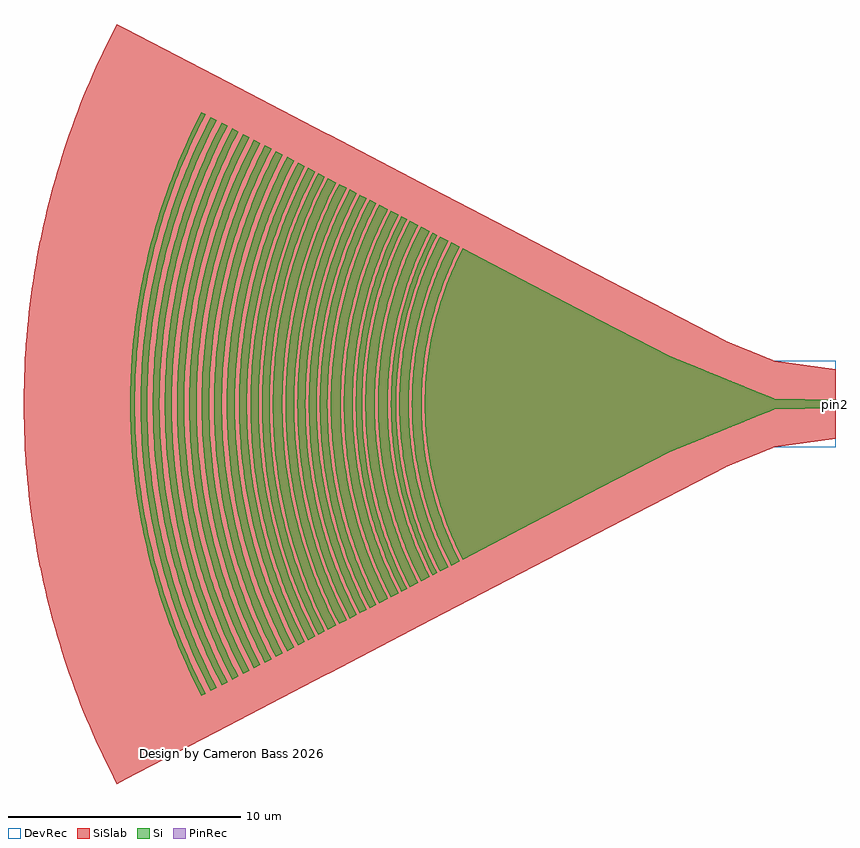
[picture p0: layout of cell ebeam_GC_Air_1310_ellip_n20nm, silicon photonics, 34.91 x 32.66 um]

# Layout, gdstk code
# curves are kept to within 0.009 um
import gdstk
lib = gdstk.Library(unit=1e-6, precision=1e-09)
def P(c, l, *ps):  # polygons
    for p in ps: c.add(gdstk.Polygon(p, *l))
Si = (1, 0)
PinRec = (1, 10)
SiSlab = (2, 0)
DevRec = (68, 0)

ebeam_gc_air_1310_ellip_ = lib.new_cell('ebeam_GC_Air_1310_ellip_n20nm')
P(ebeam_gc_air_1310_ellip_, Si, [(-16.039,-6.689),(-16.392,-5.961),(-16.765,-5.046),(-16.994,-4.378),(-17.259,-3.426),(-17.434,-2.597),(-17.561,-1.76),(-17.639,-0.917),(-17.667,-0.071),(-17.647,0.776),(-17.577,1.621),(-17.458,2.459),(-17.292,3.29),(-17.076,4.108),(-16.765,5.046),(-16.392,5.961),(-16.039,6.689),(-7.16,2.065),(-3.161,0.433),(-2.854,0.319),(-2.699,0.243),(-2.652,0.23),(0,0.175),(0,-0.175),(-2.666,-0.232),(-2.853,-0.318),(-3.192,-0.445),(-7.115,-2.045)],
  [(-16.531,-6.944),(-16.895,-6.191),(-17.231,-5.378),(-17.52,-4.547),(-17.76,-3.701),(-17.95,-2.842),(-18.09,-1.973),(-18.189,-0.953),(-18.219,-0.073),(-18.198,0.806),(-18.125,1.683),(-18.002,2.554),(-17.829,3.417),(-17.605,4.266),(-17.333,5.103),(-16.954,6.057),(-16.531,6.945),(-16.164,6.753),(-16.519,6.018),(-16.897,5.095),(-17.169,4.285),(-17.394,3.46),(-17.572,2.624),(-17.7,1.777),(-17.787,0.784),(-17.807,0.071),(-17.787,-0.784),(-17.7,-1.777),(-17.572,-2.623),(-17.394,-3.46),(-17.169,-4.285),(-16.897,-5.095),(-16.519,-6.018),(-16.164,-6.753)],
  [(-17.012,-7.195),(-17.389,-6.415),(-17.737,-5.573),(-18.036,-4.712),(-18.285,-3.835),(-18.39,-3.392),(-18.509,-2.795),(-18.645,-1.895),(-18.729,-0.987),(-18.76,-0.076),(-18.738,0.835),(-18.663,1.744),(-18.606,2.196),(-18.509,2.795),(-18.321,3.687),(-18.167,4.275),(-18.036,4.712),(-17.737,5.573),(-17.389,6.415),(-17.012,7.195),(-16.655,7.009),(-16.899,6.518),(-17.082,6.113),(-17.414,5.29),(-17.697,4.448),(-17.931,3.592),(-18.115,2.724),(-18.248,1.845),(-18.329,0.961),(-18.359,0.074),(-18.338,-0.813),(-18.248,-1.845),(-18.115,-2.724),(-17.931,-3.592),(-17.697,-4.448),(-17.414,-5.29),(-17.082,-6.113),(-16.899,-6.518),(-16.655,-7.009)],
  [(-17.332,-7.362),(-17.718,-6.563),(-18.074,-5.702),(-18.38,-4.821),(-18.635,-3.924),(-18.836,-3.013),(-18.917,-2.554),(-19.004,-1.938),(-19.09,-1.01),(-19.121,-0.078),(-19.099,0.855),(-19.022,1.784),(-18.891,2.708),(-18.672,3.773),(-18.426,4.672),(-18.129,5.556),(-17.718,6.564),(-17.332,7.362),(-17.137,7.259),(-17.578,6.332),(-17.813,5.766),(-17.974,5.336),(-18.123,4.9),(-18.301,4.313),(-18.527,3.422),(-18.699,2.519),(-18.819,1.607),(-18.878,0.843),(-18.9,0.077),(-18.878,-0.843),(-18.819,-1.607),(-18.723,-2.367),(-18.559,-3.272),(-18.301,-4.313),(-18.123,-4.9),(-17.974,-5.335),(-17.813,-5.765),(-17.578,-6.332),(-17.137,-7.259)],
  [(-17.828,-7.62),(-18.292,-6.646),(-18.652,-5.751),(-18.96,-4.836),(-19.214,-3.905),(-19.413,-2.96),(-19.557,-2.007),(-19.646,-1.045),(-19.679,-0.08),(-19.655,0.885),(-19.576,1.847),(-19.441,2.803),(-19.214,3.905),(-18.96,4.836),(-18.652,5.751),(-18.227,6.794),(-17.828,7.62),(-17.457,7.426),(-17.909,6.478),(-18.205,5.752),(-18.514,4.863),(-18.77,3.959),(-18.879,3.5),(-19.003,2.886),(-19.143,1.955),(-19.207,1.332),(-19.239,0.862),(-19.261,0.078),(-19.239,-0.862),(-19.207,-1.332),(-19.143,-1.955),(-19.003,-2.886),(-18.807,-3.806),(-18.56,-4.714),(-18.26,-5.605),(-17.909,-6.478),(-17.457,-7.426)],
  [(-18.308,-7.87),(-18.582,-7.317),(-18.788,-6.863),(-19.159,-5.939),(-19.478,-4.994),(-19.74,-4.032),(-19.945,-3.057),(-20.095,-2.071),(-20.186,-1.08),(-20.22,-0.083),(-20.196,0.914),(-20.114,1.907),(-20.002,2.73),(-19.779,3.872),(-19.616,4.516),(-19.478,4.994),(-19.159,5.939),(-18.788,6.864),(-18.582,7.317),(-18.308,7.87),(-17.954,7.685),(-18.356,6.851),(-18.61,6.255),(-18.785,5.8),(-19.095,4.878),(-19.351,3.939),(-19.553,2.986),(-19.698,2.023),(-19.788,1.054),(-19.821,0.081),(-19.797,-0.892),(-19.717,-1.862),(-19.581,-2.826),(-19.389,-3.78),(-19.142,-4.722),(-18.841,-5.648),(-18.67,-6.103),(-18.421,-6.703),(-17.954,-7.685)],
  [(-18.67,-8.058),(-19.093,-7.182),(-19.483,-6.239),(-19.818,-5.275),(-20.01,-4.623),(-20.137,-4.128),(-20.347,-3.13),(-20.5,-2.121),(-20.594,-1.105),(-20.628,-0.085),(-20.604,0.935),(-20.52,1.953),(-20.377,2.962),(-20.249,3.631),(-20.137,4.128),(-20.01,4.623),(-19.818,5.275),(-19.483,6.239),(-19.093,7.182),(-18.67,8.058),(-18.433,7.935),(-18.637,7.529),(-18.916,6.92),(-19.111,6.457),(-19.349,5.831),(-19.512,5.355),(-19.706,4.715),(-19.836,4.229),(-19.988,3.576),(-20.167,2.587),(-20.272,1.756),(-20.337,0.921),(-20.361,0.084),(-20.337,-0.921),(-20.272,-1.756),(-20.167,-2.587),(-20.022,-3.412),(-19.915,-3.903),(-19.751,-4.552),(-19.563,-5.195),(-19.405,-5.673),(-19.173,-6.3),(-18.983,-6.766),(-18.709,-7.377),(-18.433,-7.934)],
  [(-19.128,-8.297),(-19.564,-7.395),(-19.772,-6.912),(-20.027,-6.26),(-20.362,-5.264),(-20.639,-4.25),(-20.855,-3.222),(-21.013,-2.183),(-21.109,-1.138),(-21.145,-0.088),(-21.135,0.613),(-21.109,1.138),(-21.013,2.183),(-20.855,3.222),(-20.639,4.25),(-20.362,5.264),(-20.027,6.26),(-19.635,7.235),(-19.418,7.713),(-19.128,8.297),(-18.796,8.123),(-19.222,7.24),(-19.491,6.608),(-19.675,6.129),(-20.003,5.154),(-20.274,4.162),(-20.487,3.156),(-20.641,2.138),(-20.735,1.114),(-20.77,0.086),(-20.745,-0.943),(-20.661,-1.968),(-20.517,-2.986),(-20.423,-3.492),(-20.274,-4.162),(-20.003,-5.154),(-19.675,-6.129),(-19.291,-7.083),(-19.079,-7.552),(-18.796,-8.123)],
  [(-19.627,-8.557),(-20.075,-7.628),(-20.489,-6.627),(-20.844,-5.603),(-21.14,-4.56),(-21.373,-3.502),(-21.546,-2.432),(-21.656,-1.353),(-21.687,-0.813),(-21.705,-0.09),(-21.679,0.993),(-21.589,2.074),(-21.438,3.146),(-21.302,3.856),(-21.183,4.385),(-20.898,5.43),(-20.674,6.117),(-20.489,6.627),(-20.075,7.628),(-19.627,8.557),(-19.254,8.362),(-19.545,7.774),(-19.764,7.291),(-20.098,6.474),(-20.278,5.977),(-20.497,5.306),(-20.775,4.284),(-20.995,3.248),(-21.153,2.201),(-21.25,1.146),(-21.286,0.088),(-21.281,-0.442),(-21.25,-1.146),(-21.153,-2.2),(-20.995,-3.248),(-20.775,-4.284),(-20.497,-5.305),(-20.335,-5.809),(-20.098,-6.474),(-19.764,-7.291),(-19.545,-7.773),(-19.254,-8.362)],
  [(-20.042,-8.773),(-20.348,-8.154),(-20.578,-7.648),(-20.992,-6.618),(-21.346,-5.565),(-21.639,-4.494),(-21.868,-3.407),(-22.034,-2.309),(-22.136,-1.203),(-22.174,-0.093),(-22.147,1.018),(-22.056,2.125),(-21.986,2.676),(-21.868,3.407),(-21.639,4.494),(-21.346,5.565),(-20.992,6.618),(-20.578,7.649),(-20.348,8.154),(-20.042,8.773),(-19.756,8.623),(-19.977,8.181),(-20.281,7.52),(-20.493,7.016),(-20.751,6.336),(-20.983,5.646),(-21.139,5.122),(-21.28,4.595),(-21.445,3.886),(-21.611,2.991),(-21.734,2.089),(-21.824,1.001),(-21.85,0.091),(-21.84,-0.637),(-21.771,-1.727),(-21.666,-2.631),(-21.482,-3.707),(-21.365,-4.241),(-21.188,-4.947),(-20.983,-5.645),(-20.751,-6.336),(-20.493,-7.015),(-20.281,-7.519),(-19.977,-8.181),(-19.756,-8.623)],
  [(-20.462,-8.992),(-20.936,-8.011),(-21.371,-6.959),(-21.744,-5.884),(-22.055,-4.789),(-22.225,-4.05),(-22.335,-3.491),(-22.505,-2.365),(-22.61,-1.233),(-22.649,-0.095),(-22.621,1.043),(-22.527,2.178),(-22.368,3.305),(-22.264,3.864),(-22.1,4.605),(-21.908,5.338),(-21.744,5.884),(-21.371,6.959),(-20.936,8.011),(-20.462,8.992),(-20.168,8.838),(-20.476,8.215),(-20.781,7.534),(-21.06,6.842),(-21.251,6.316),(-21.481,5.607),(-21.636,5.069),(-21.776,4.527),(-21.938,3.799),(-22.099,2.88),(-22.216,1.955),(-22.288,1.025),(-22.315,0.093),(-22.297,-0.839),(-22.234,-1.77),(-22.126,-2.696),(-21.938,-3.799),(-21.776,-4.527),(-21.636,-5.069),(-21.481,-5.607),(-21.251,-6.316),(-20.993,-7.015),(-20.781,-7.534),(-20.476,-8.214),(-20.168,-8.838)],
  [(-20.897,-9.218),(-21.384,-8.209),(-21.829,-7.132),(-22.212,-6.03),(-22.531,-4.908),(-22.705,-4.15),(-22.818,-3.577),(-22.993,-2.424),(-23.1,-1.263),(-23.139,-0.097),(-23.134,0.486),(-23.1,1.263),(-22.993,2.424),(-22.818,3.578),(-22.577,4.719),(-22.27,5.844),(-21.898,6.95),(-21.463,8.032),(-21.221,8.563),(-20.897,9.218),(-20.592,9.058),(-20.91,8.416),(-21.222,7.718),(-21.508,7.009),(-21.704,6.471),(-21.884,5.926),(-22.099,5.193),(-22.242,4.638),(-22.408,3.892),(-22.573,2.951),(-22.693,2.003),(-22.767,1.051),(-22.795,0.096),(-22.776,-0.86),(-22.712,-1.813),(-22.601,-2.762),(-22.408,-3.892),(-22.242,-4.638),(-22.099,-5.193),(-21.884,-5.926),(-21.704,-6.471),(-21.508,-7.009),(-21.222,-7.718),(-20.91,-8.416),(-20.592,-9.058)],
  [(-21.348,-9.453),(-21.681,-8.781),(-21.928,-8.236),(-22.374,-7.127),(-22.756,-5.993),(-23.071,-4.839),(-23.318,-3.669),(-23.497,-2.486),(-23.607,-1.295),(-23.647,-0.1),(-23.642,0.498),(-23.607,1.296),(-23.497,2.487),(-23.318,3.669),(-23.071,4.839),(-22.756,5.993),(-22.374,7.127),(-21.928,8.237),(-21.681,8.781),(-21.348,9.453),(-21.022,9.282),(-21.264,8.8),(-21.591,8.088),(-21.819,7.546),(-22.097,6.815),(-22.347,6.072),(-22.515,5.509),(-22.713,4.752),(-22.884,3.988),(-23.053,3.024),(-23.176,2.052),(-23.252,1.076),(-23.28,0.098),(-23.261,-0.881),(-23.195,-1.858),(-23.082,-2.83),(-22.884,-3.987),(-22.713,-4.752),(-22.515,-5.509),(-22.347,-6.072),(-22.097,-6.815),(-21.819,-7.546),(-21.591,-8.088),(-21.264,-8.799),(-21.022,-9.282)],
  [(-21.836,-9.706),(-22.088,-9.203),(-22.43,-8.459),(-22.888,-7.319),(-23.093,-6.74),(-23.28,-6.155),(-23.451,-5.565),(-23.604,-4.97),(-23.857,-3.768),(-23.958,-3.162),(-24.041,-2.553),(-24.154,-1.33),(-24.184,-0.716),(-24.195,-0.102),(-24.166,1.126),(-24.065,2.351),(-23.958,3.162),(-23.857,3.768),(-23.604,4.97),(-23.451,5.566),(-23.28,6.155),(-23.093,6.74),(-22.888,7.32),(-22.43,8.459),(-22.176,9.019),(-21.836,9.707),(-21.473,9.517),(-21.808,8.842),(-22.136,8.109),(-22.364,7.551),(-22.642,6.798),(-22.831,6.226),(-23.057,5.456),(-23.207,4.873),(-23.381,4.089),(-23.555,3.1),(-23.681,2.105),(-23.759,1.104),(-23.788,0.1),(-23.769,-0.903),(-23.701,-1.905),(-23.555,-3.1),(-23.381,-4.089),(-23.207,-4.873),(-23.057,-5.455),(-22.831,-6.226),(-22.642,-6.798),(-22.364,-7.551),(-22.136,-8.109),(-21.808,-8.842),(-21.473,-9.517)],
  [(-22.25,-9.922),(-22.773,-8.837),(-23.022,-8.26),(-23.253,-7.677),(-23.535,-6.889),(-23.727,-6.291),(-24.058,-5.08),(-24.316,-3.851),(-24.419,-3.232),(-24.504,-2.61),(-24.62,-1.36),(-24.662,-0.105),(-24.656,0.524),(-24.632,1.151),(-24.529,2.402),(-24.45,3.025),(-24.353,3.645),(-24.238,4.263),(-24.058,5.08),(-23.727,6.291),(-23.535,6.89),(-23.253,7.677),(-23.022,8.261),(-22.773,8.838),(-22.25,9.922),(-21.961,9.771),(-22.303,9.079),(-22.558,8.516),(-22.798,7.946),(-23.091,7.175),(-23.291,6.59),(-23.53,5.801),(-23.69,5.204),(-23.877,4.4),(-23.996,3.794),(-24.097,3.183),(-24.226,2.161),(-24.306,1.133),(-24.336,0.103),(-24.306,-1.133),(-24.226,-2.161),(-24.097,-3.183),(-23.996,-3.794),(-23.877,-4.4),(-23.69,-5.204),(-23.53,-5.8),(-23.291,-6.589),(-23.091,-7.175),(-22.798,-7.945),(-22.558,-8.515),(-22.303,-9.079),(-21.961,-9.771)],
  [(-22.684,-10.148),(-22.95,-9.618),(-23.221,-9.036),(-23.476,-8.446),(-23.712,-7.85),(-24.133,-6.637),(-24.375,-5.816),(-24.535,-5.194),(-24.676,-4.568),(-24.799,-3.938),(-24.905,-3.305),(-24.992,-2.668),(-25.06,-2.03),(-25.11,-1.39),(-25.141,-0.749),(-25.153,-0.107),(-25.147,0.536),(-25.122,1.177),(-25.079,1.817),(-25.017,2.456),(-24.936,3.093),(-24.837,3.727),(-24.676,4.568),(-24.535,5.194),(-24.375,5.816),(-24.196,6.433),(-24,7.045),(-23.787,7.65),(-23.308,8.841),(-23.042,9.426),(-22.684,10.148),(-22.378,9.988),(-22.729,9.279),(-22.99,8.703),(-23.235,8.121),(-23.534,7.333),(-23.803,6.534),(-23.983,5.928),(-24.147,5.318),(-24.338,4.497),(-24.53,3.462),(-24.673,2.418),(-24.764,1.368),(-24.795,0.738),(-24.807,0.105),(-24.787,-0.948),(-24.695,-2.208),(-24.563,-3.253),(-24.338,-4.497),(-24.147,-5.318),(-23.983,-5.928),(-23.803,-6.534),(-23.534,-7.333),(-23.313,-7.924),(-22.99,-8.703),(-22.729,-9.279),(-22.378,-9.988)],
  [(-23.116,-10.373),(-23.391,-9.825),(-23.668,-9.231),(-23.928,-8.628),(-24.17,-8.019),(-24.601,-6.78),(-24.789,-6.151),(-24.959,-5.518),(-25.062,-5.094),(-25.242,-4.238),(-25.356,-3.592),(-25.451,-2.943),(-25.527,-2.292),(-25.599,-1.42),(-25.631,-0.765),(-25.643,-0.109),(-25.637,0.547),(-25.612,1.202),(-25.567,1.856),(-25.504,2.509),(-25.421,3.16),(-25.282,4.024),(-25.011,5.306),(-24.847,5.942),(-24.665,6.571),(-24.465,7.197),(-24.247,7.815),(-23.757,9.031),(-23.486,9.628),(-23.116,10.373),(-22.826,10.222),(-23.187,9.491),(-23.54,8.705),(-23.785,8.106),(-24.011,7.501),(-24.286,6.684),(-24.471,6.065),(-24.69,5.231),(-24.834,4.6),(-25.031,3.541),(-25.124,2.902),(-25.199,2.259),(-25.282,1.185),(-25.314,0.108),(-25.293,-0.97),(-25.199,-2.259),(-25.124,-2.901),(-25.031,-3.541),(-24.834,-4.6),(-24.69,-5.231),(-24.471,-6.064),(-24.286,-6.684),(-24.011,-7.501),(-23.785,-8.106),(-23.454,-8.902),(-23.187,-9.491),(-22.826,-10.221)],
  [(-23.585,-10.618),(-24.154,-9.443),(-24.42,-8.826),(-24.667,-8.203),(-24.897,-7.572),(-25.108,-6.936),(-25.301,-6.292),(-25.475,-5.645),(-25.63,-4.992),(-25.805,-4.115),(-25.916,-3.453),(-26.007,-2.788),(-26.078,-2.121),(-26.13,-1.453),(-26.163,-0.782),(-26.176,-0.112),(-26.169,0.56),(-26.143,1.23),(-26.098,1.899),(-26.033,2.567),(-25.948,3.232),(-25.844,3.896),(-25.676,4.774),(-25.528,5.428),(-25.361,6.078),(-25.174,6.722),(-24.969,7.362),(-24.746,7.994),(-24.504,8.619),(-24.245,9.238),(-23.967,9.849),(-23.585,10.618),(-23.284,10.46),(-23.657,9.707),(-23.93,9.105),(-24.187,8.495),(-24.5,7.672),(-24.714,7.046),(-24.971,6.203),(-25.142,5.564),(-25.342,4.705),(-25.544,3.621),(-25.693,2.529),(-25.756,1.872),(-25.801,1.212),(-25.833,0.11),(-25.812,-0.992),(-25.774,-1.651),(-25.716,-2.31),(-25.578,-3.404),(-25.342,-4.705),(-25.142,-5.564),(-24.971,-6.202),(-24.714,-7.045),(-24.5,-7.671),(-24.187,-8.495),(-23.93,-9.105),(-23.562,-9.906),(-23.284,-10.46)],
  [(-24.068,-10.869),(-24.363,-10.282),(-24.653,-9.66),(-24.926,-9.029),(-25.179,-8.392),(-25.488,-7.531),(-25.698,-6.877),(-25.889,-6.218),(-26.06,-5.553),(-26.211,-4.884),(-26.344,-4.21),(-26.457,-3.533),(-26.55,-2.852),(-26.623,-2.17),(-26.676,-1.486),(-26.71,-0.8),(-26.723,-0.114),(-26.716,0.573),(-26.69,1.258),(-26.623,2.17),(-26.55,2.853),(-26.457,3.533),(-26.344,4.211),(-26.164,5.108),(-26.06,5.553),(-25.889,6.218),(-25.698,6.877),(-25.414,7.748),(-25.179,8.392),(-24.926,9.03),(-24.653,9.66),(-24.363,10.282),(-24.068,10.869),(-23.772,10.714),(-24.06,10.14),(-24.346,9.526),(-24.7,8.697),(-24.944,8.065),(-25.24,7.212),(-25.441,6.566),(-25.622,5.914),(-25.836,5.036),(-25.972,4.374),(-26.09,3.707),(-26.243,2.589),(-26.341,1.465),(-26.374,0.79),(-26.387,0.113),(-26.365,-1.015),(-26.267,-2.365),(-26.125,-3.484),(-26.014,-4.152),(-25.883,-4.816),(-25.733,-5.476),(-25.503,-6.348),(-25.309,-6.997),(-25.021,-7.853),(-24.784,-8.486),(-24.437,-9.32),(-24.06,-10.14),(-23.772,-10.714)],
  [(-24.538,-11.114),(-24.842,-10.51),(-25.139,-9.874),(-25.418,-9.229),(-25.676,-8.578),(-25.917,-7.918),(-26.138,-7.253),(-26.402,-6.356),(-26.578,-5.676),(-26.684,-5.221),(-26.868,-4.303),(-26.983,-3.611),(-27.078,-2.917),(-27.153,-2.218),(-27.208,-1.519),(-27.242,-0.818),(-27.255,-0.117),(-27.242,0.818),(-27.208,1.52),(-27.153,2.219),(-27.078,2.917),(-26.983,3.611),(-26.868,4.303),(-26.684,5.221),(-26.578,5.676),(-26.402,6.356),(-26.138,7.253),(-25.917,7.918),(-25.676,8.578),(-25.418,9.23),(-25.139,9.874),(-24.842,10.51),(-24.538,11.114),(-24.253,10.965),(-24.651,10.164),(-24.938,9.533),(-25.207,8.894),(-25.535,8.032),(-25.83,7.157),(-26.028,6.495),(-26.208,5.825),(-26.417,4.926),(-26.629,3.792),(-26.785,2.648),(-26.886,1.499),(-26.919,0.808),(-26.932,0.115),(-26.926,-0.576),(-26.899,-1.269),(-26.809,-2.419),(-26.729,-3.107),(-26.629,-3.792),(-26.417,-4.926),(-26.208,-5.825),(-26.028,-6.493),(-25.83,-7.157),(-25.535,-8.032),(-25.207,-8.894),(-24.938,-9.533),(-24.651,-10.164),(-24.253,-10.965)],
  [(-25.011,-11.36),(-25.323,-10.74),(-25.627,-10.091),(-25.911,-9.432),(-26.176,-8.766),(-26.421,-8.092),(-26.647,-7.412),(-26.854,-6.724),(-27.04,-6.032),(-27.204,-5.335),(-27.35,-4.632),(-27.474,-3.927),(-27.579,-3.217),(-27.662,-2.505),(-27.725,-1.79),(-27.776,-0.836),(-27.79,-0.12),(-27.783,0.597),(-27.755,1.314),(-27.706,2.029),(-27.637,2.743),(-27.546,3.454),(-27.394,4.397),(-27.255,5.102),(-27.097,5.8),(-26.918,6.495),(-26.718,7.184),(-26.499,7.866),(-26.176,8.766),(-25.911,9.432),(-25.627,10.091),(-25.323,10.74),(-25.011,11.36),(-24.733,11.215),(-25.142,10.392),(-25.435,9.747),(-25.71,9.095),(-26.046,8.213),(-26.275,7.543),(-26.485,6.867),(-26.675,6.185),(-26.898,5.267),(-27.126,4.11),(-27.235,3.411),(-27.324,2.708),(-27.393,2.004),(-27.441,1.297),(-27.475,0.118),(-27.468,-0.589),(-27.441,-1.297),(-27.349,-2.473),(-27.201,-3.644),(-27.085,-4.343),(-26.948,-5.037),(-26.734,-5.956),(-26.55,-6.639),(-26.275,-7.543),(-26.046,-8.213),(-25.71,-9.094),(-25.435,-9.747),(-25.142,-10.392),(-24.733,-11.214)],
  [(-25.473,-11.6),(-25.792,-10.966),(-26.102,-10.303),(-26.392,-9.63),(-26.662,-8.95),(-26.913,-8.262),(-27.144,-7.568),(-27.355,-6.866),(-27.545,-6.159),(-27.765,-5.209),(-27.906,-4.49),(-28.027,-3.768),(-28.126,-3.042),(-28.204,-2.315),(-28.261,-1.585),(-28.296,-0.854),(-28.311,-0.122),(-28.296,0.854),(-28.261,1.585),(-28.204,2.315),(-28.126,3.042),(-28.027,3.768),(-27.906,4.49),(-27.765,5.209),(-27.603,5.922),(-27.42,6.632),(-27.217,7.334),(-26.993,8.031),(-26.748,8.722),(-26.484,9.405),(-26.201,10.08),(-25.897,10.747),(-25.473,11.6),(-25.207,11.461),(-25.626,10.619),(-25.925,9.96),(-26.296,9.069),(-26.55,8.392),(-26.784,7.707),(-26.998,7.017),(-27.193,6.32),(-27.421,5.382),(-27.567,4.674),(-27.693,3.962),(-27.856,2.767),(-27.926,2.048),(-27.975,1.326),(-28.01,0.121),(-27.987,-1.085),(-27.945,-1.806),(-27.882,-2.527),(-27.798,-3.246),(-27.693,-3.961),(-27.567,-4.674),(-27.421,-5.382),(-27.193,-6.319),(-26.998,-7.017),(-26.784,-7.707),(-26.55,-8.392),(-26.296,-9.069),(-25.925,-9.96),(-25.626,-10.619),(-25.207,-11.461)],
  [(-25.938,-11.842),(-26.264,-11.194),(-26.581,-10.517),(-26.877,-9.831),(-27.153,-9.137),(-27.409,-8.434),(-27.645,-7.725),(-27.86,-7.009),(-28.054,-6.287),(-28.278,-5.317),(-28.423,-4.583),(-28.545,-3.846),(-28.647,-3.105),(-28.727,-2.363),(-28.785,-1.618),(-28.821,-0.871),(-28.835,-0.125),(-28.828,0.623),(-28.799,1.37),(-28.748,2.115),(-28.676,2.859),(-28.582,3.6),(-28.423,4.583),(-28.278,5.317),(-28.113,6.045),(-27.927,6.77),(-27.719,7.487),(-27.49,8.199),(-27.241,8.903),(-26.877,9.831),(-26.581,10.517),(-26.264,11.194),(-25.938,11.843),(-25.677,11.706),(-25.999,11.067),(-26.411,10.172),(-26.698,9.491),(-26.965,8.802),(-27.211,8.105),(-27.507,7.166),(-27.767,6.216),(-27.938,5.496),(-28.176,4.288),(-28.29,3.559),(-28.383,2.826),(-28.455,2.091),(-28.505,1.354),(-28.541,0.123),(-28.533,-0.615),(-28.505,-1.354),(-28.409,-2.581),(-28.254,-3.802),(-28.133,-4.53),(-27.991,-5.256),(-27.767,-6.215),(-27.576,-6.928),(-27.288,-7.871),(-27.049,-8.57),(-26.698,-9.49),(-26.411,-10.171),(-25.999,-11.066),(-25.677,-11.706)],
  [(-26.397,-12.081),(-26.73,-11.419),(-27.053,-10.729),(-27.355,-10.028),(-27.636,-9.32),(-27.898,-8.603),(-28.138,-7.88),(-28.357,-7.15),(-28.555,-6.414),(-28.784,-5.424),(-28.932,-4.675),(-29.057,-3.924),(-29.16,-3.168),(-29.242,-2.41),(-29.301,-1.651),(-29.338,-0.889),(-29.353,-0.127),(-29.345,0.636),(-29.316,1.397),(-29.264,2.157),(-29.19,2.917),(-29.094,3.672),(-28.976,4.426),(-28.836,5.175),(-28.616,6.167),(-28.426,6.906),(-28.214,7.638),(-27.98,8.364),(-27.726,9.082),(-27.451,9.794),(-27.053,10.729),(-26.73,11.419),(-26.397,12.081),(-26.146,11.95),(-26.584,11.07),(-26.896,10.383),(-27.189,9.688),(-27.547,8.749),(-27.791,8.035),(-28.015,7.315),(-28.28,6.345),(-28.455,5.611),(-28.608,4.873),(-28.739,4.13),(-28.909,2.885),(-29.019,1.633),(-29.055,0.88),(-29.07,0.126),(-29.062,-0.628),(-29.033,-1.382),(-28.936,-2.635),(-28.848,-3.384),(-28.739,-4.13),(-28.608,-4.873),(-28.455,-5.611),(-28.28,-6.345),(-28.015,-7.315),(-27.791,-8.034),(-27.547,-8.748),(-27.282,-9.454),(-26.896,-10.383),(-26.584,-11.07),(-26.146,-11.95)],
  [(-26.867,-12.326),(-27.312,-11.43),(-27.634,-10.722),(-27.838,-10.244),(-28.216,-9.277),(-28.475,-8.544),(-28.713,-7.802),(-28.929,-7.054),(-29.124,-6.299),(-29.295,-5.54),(-29.445,-4.776),(-29.573,-4.008),(-29.679,-3.236),(-29.761,-2.462),(-29.822,-1.686),(-29.86,-0.908),(-29.875,-0.13),(-29.86,0.908),(-29.822,1.686),(-29.761,2.462),(-29.679,3.236),(-29.573,4.008),(-29.445,4.777),(-29.295,5.541),(-29.124,6.299),(-28.929,7.054),(-28.713,7.802),(-28.475,8.544),(-28.216,9.278),(-27.935,10.004),(-27.634,10.722),(-27.312,11.43),(-26.867,12.327),(-26.613,12.194),(-27.06,11.295),(-27.379,10.594),(-27.678,9.885),(-28.043,8.926),(-28.292,8.198),(-28.52,7.463),(-28.727,6.722),(-28.969,5.725),(-29.217,4.466),(-29.336,3.707),(-29.433,2.943),(-29.507,2.178),(-29.559,1.41),(-29.597,0.128),(-29.572,-1.154),(-29.527,-1.921),(-29.46,-2.688),(-29.299,-3.96),(-29.172,-4.72),(-29.024,-5.474),(-28.791,-6.473),(-28.591,-7.216),(-28.371,-7.954),(-28.043,-8.926),(-27.773,-9.646),(-27.379,-10.594),(-27.06,-11.295),(-26.613,-12.193)],
  [(-27.265,-12.534),(-27.611,-11.844),(-27.946,-11.128),(-28.259,-10.402),(-28.55,-9.667),(-28.821,-8.925),(-29.07,-8.174),(-29.297,-7.416),(-29.502,-6.653),(-29.794,-5.368),(-29.938,-4.591),(-30.096,-3.548),(-30.213,-2.5),(-30.269,-1.793),(-30.313,-0.922),(-30.328,-0.132),(-30.32,0.659),(-30.29,1.449),(-30.236,2.238),(-30.129,3.287),(-30.022,4.07),(-29.892,4.85),(-29.794,5.368),(-29.565,6.397),(-29.368,7.163),(-29.148,7.922),(-28.907,8.675),(-28.643,9.421),(-28.358,10.158),(-27.946,11.129),(-27.611,11.845),(-27.265,12.534),(-27.092,12.443),(-27.427,11.775),(-27.759,11.063),(-28.17,10.099),(-28.453,9.365),(-28.715,8.624),(-28.955,7.876),(-29.241,6.867),(-29.429,6.105),(-29.695,4.822),(-29.824,4.046),(-29.93,3.267),(-30.014,2.486),(-30.075,1.702),(-30.113,0.917),(-30.128,0.131),(-30.103,-1.179),(-30.057,-1.963),(-29.988,-2.746),(-29.897,-3.527),(-29.783,-4.305),(-29.647,-5.079),(-29.488,-5.848),(-29.241,-6.867),(-29.03,-7.625),(-28.797,-8.375),(-28.543,-9.119),(-28.267,-9.855),(-27.865,-10.823),(-27.427,-11.775),(-27.092,-12.443)])
P(ebeam_gc_air_1310_ellip_, SiSlab, [(-30.904,-16.329),(-31.366,-15.41),(-31.801,-14.477),(-32.208,-13.533),(-32.588,-12.577),(-32.94,-11.61),(-33.264,-10.634),(-33.559,-9.648),(-33.825,-8.655),(-34.062,-7.654),(-34.27,-6.647),(-34.449,-5.634),(-34.598,-4.616),(-34.717,-3.594),(-34.807,-2.569),(-34.867,-1.543),(-34.9,-0.171),(-34.89,0.857),(-34.85,1.885),(-34.781,2.912),(-34.681,3.935),(-34.552,4.956),(-34.393,5.972),(-34.135,7.319),(-33.907,8.322),(-33.651,9.318),(-33.365,10.307),(-33.051,11.286),(-32.709,12.256),(-32.338,13.216),(-31.94,14.164),(-31.366,15.41),(-30.904,16.329),(-4.744,2.708),(-2.65,1.855),(0,1.5),(0,-1.5),(-2.65,-1.855),(-4.728,-2.7)])
P(ebeam_gc_air_1310_ellip_, DevRec, [(-30.904,-16.329),(-31.366,-15.41),(-31.801,-14.477),(-32.208,-13.533),(-32.588,-12.577),(-32.94,-11.61),(-33.264,-10.634),(-33.559,-9.648),(-33.825,-8.655),(-34.062,-7.654),(-34.27,-6.647),(-34.449,-5.634),(-34.598,-4.616),(-34.717,-3.594),(-34.807,-2.569),(-34.867,-1.543),(-34.9,-0.171),(-34.89,0.857),(-34.85,1.885),(-34.781,2.912),(-34.681,3.935),(-34.552,4.956),(-34.393,5.972),(-34.135,7.319),(-33.907,8.322),(-33.651,9.318),(-33.365,10.307),(-33.051,11.286),(-32.709,12.256),(-32.338,13.216),(-31.94,14.164),(-31.366,15.41),(-30.904,16.329),(-4.744,2.708),(-2.65,1.855),(0,1.855),(0,-1.855),(-2.65,-1.855),(-4.728,-2.7)])
ebeam_gc_air_1310_ellip_.add(gdstk.FlexPath([(-0.01,0),(0.01,0)], 0.35, ends="flush", simple_path=True, layer=1, datatype=10))  # PinRec
ebeam_gc_air_1310_ellip_.add(gdstk.Label('pin2', (0,0), layer=1, texttype=10))
ebeam_gc_air_1310_ellip_.add(gdstk.Label('Design by Cameron Bass 2026', (-25.94,-15.02), layer=10, texttype=0))

lib.write_gds('ebeam_GC_Air_1310_ellip_n20nm.gds')
